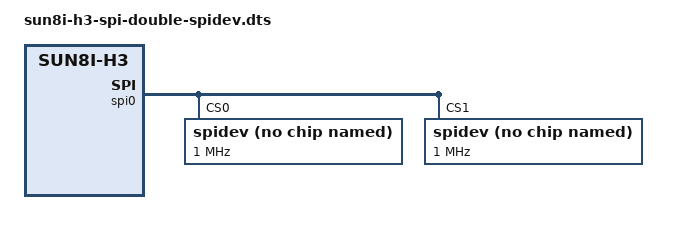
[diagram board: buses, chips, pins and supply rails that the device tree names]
/dts-v1/ /plugin/;

/ {
	compatible = "allwinner,sun8i-h3";

	fragment@0 {
		target-path = "/aliases";
		__overlay__ {
			spi0 = "/soc/spi@01c68000";
		};
	};

	fragment@1 {
		target = <&spi0>;
		__overlay__ {
			#address-cells = <1>;
			#size-cells = <0>;
			status = "okay";
			spidev@0 {
				reg = <0>; /* Chip Select 0 */
				compatible = "spidev";
				spi-max-frequency = <1000000>;
				status = "okay";
			};

			spidev@1 {
				reg = <1>; /* Chip Select 1 */
				compatible = "spidev";
				spi-max-frequency = <1000000>;
				status = "okay";
			};
		};
	};
};
